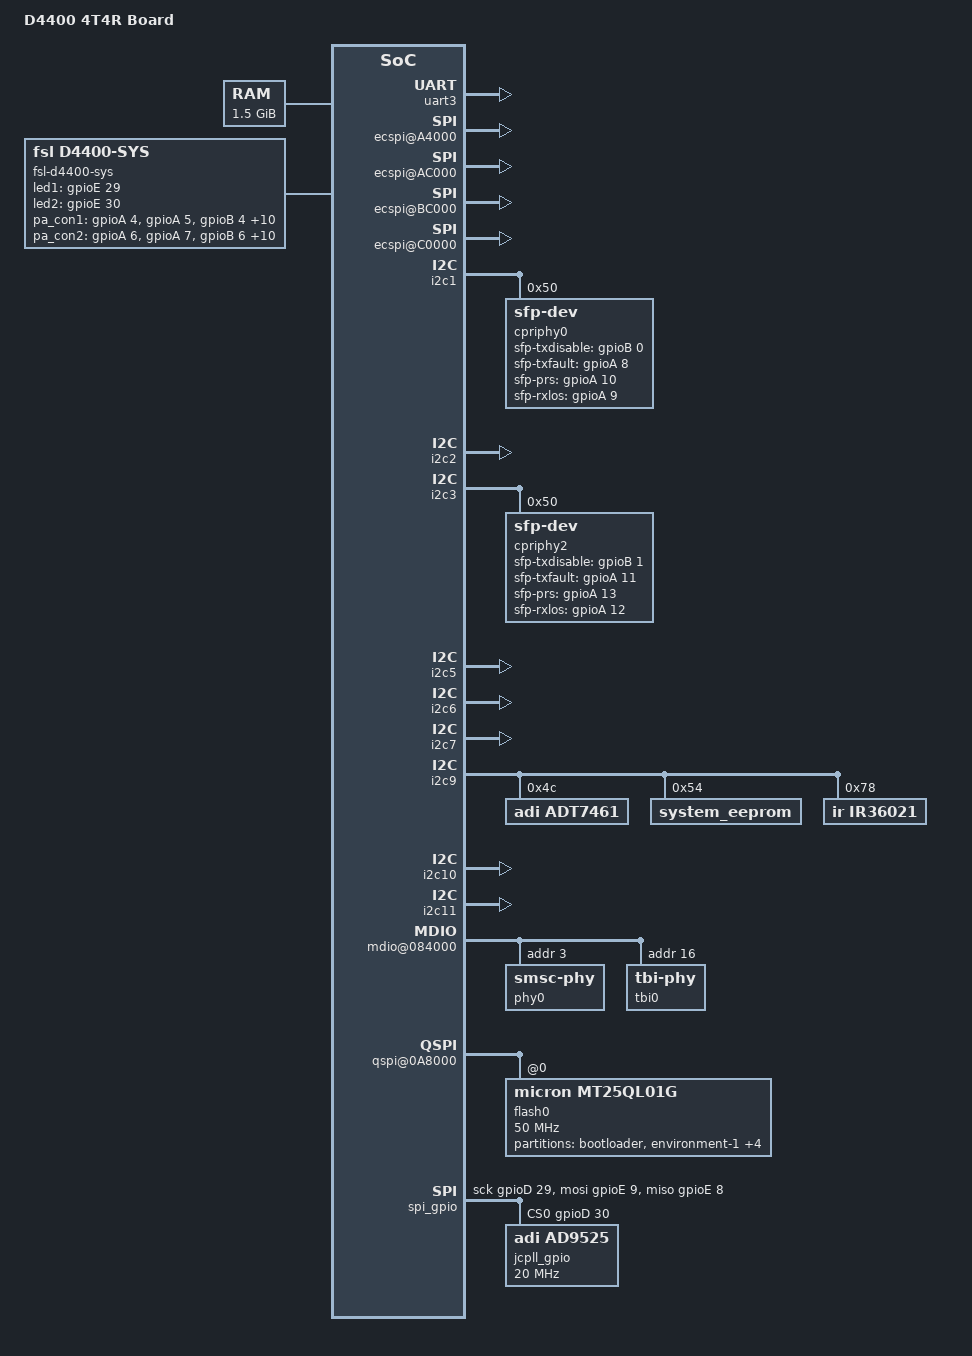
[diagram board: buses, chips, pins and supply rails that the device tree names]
/*
 * Copyright (C) 2013 Freescale Semiconductor, Inc.
 *
 * The code contained herein is licensed under the GNU General Public
 * License. You may obtain a copy of the GNU General Public License
 * Version 2 or later at the following locations:
 *
 * http://www.opensource.org/licenses/gpl-license.html
 * http://www.gnu.org/copyleft/gpl.html
 */
/dts-v1/;

/include/ "d4400.dtsi"

/ {
	model = "D4400 4T4R Board";
	compatible = "fsl,d4400";

	aliases {
		cpri0ethernet0 = &cp1_framer1;
		cpri1ethernet0 = &cp2_framer1;
	};

        memory {
                reg = <0x90000000 0x60000000>;
        };

        soc@0 {
                aips-bus@1000000 { /* AIPS1 */
                        uart3: serial@f4000 {
                                pinctrl-names = "default";
                                pinctrl-0 = <&pinctrl_uart3_1>;
                                status = "okay";
                        };
			ecspi@A4000 {
				#address-cells = <1>;
				#size-cells = <0>;
				status = "okay";
				pinctrl-names = "default";
				pinctrl-0 = <&pinctrl_ecspi1_1>;
				fsl,spi-num-chipselects = <3>;
			};

			ecspi@AC000 {
				#address-cells = <1>;
				#size-cells = <0>;
				status = "okay";
				pinctrl-names = "default";
				pinctrl-0 = <&pinctrl_ecspi3_1>;
				fsl,spi-num-chipselects = <3>;
			};

			/* spi-gpio is used in place of ecspi5 due
			 * to miso/mosi signal swap in 4t4r board.
			 */

			ecspi@BC000 {
				#address-cells = <1>;
				#size-cells = <0>;
				status = "okay";
				pinctrl-names = "default";
				pinctrl-0 = <&pinctrl_ecspi7_1>;
				fsl,spi-num-chipselects = <2>;
			};

			ecspi@C0000 {
				#address-cells = <1>;
				#size-cells = <0>;
				status = "okay";
				pinctrl-names = "default";
				pinctrl-0 = <&pinctrl_ecspi8_1>;
				fsl,spi-num-chipselects = <3>;
			};

			i2c1: i2c@C4000 {
				#address-cells = <1>;
				#size-cells = <0>;
				status = "okay";
				pinctrl-names = "default";
				pinctrl-0 = <&pinctrl_i2c1_1>;

				cpriphy0: sfp0@50 {
					id = <0>;
					compatible = "sfp-dev";
					reg = <0x50 0x51>;
					max-addr = <0x2>;
					gpio-sfp-txdisable = <&gpioB 0 0>;
					gpio-sfp-txfault = <&gpioA 8 0>;
					gpio-sfp-prs = <&gpioA 10 0>;
					gpio-sfp-rxlos = <&gpioA 9 0>;
					pinctrl-names = "default";
					pinctrl-0 = <&pinctrl_sfp1_1>;
				};

			};

			i2c2: i2c@C8000 {
				#address-cells = <1>;
				#size-cells = <0>;
				status = "okay";
				pinctrl-names = "default";
				pinctrl-0 = <&pinctrl_i2c2_1>;
			};

			i2c3: i2c@CC000 {
				#address-cells = <1>;
				#size-cells = <0>;
				status = "okay";
				pinctrl-names = "default";
				pinctrl-0 = <&pinctrl_i2c3_1>;

				cpriphy2: sfp2@50 {
					id = <2>;
					compatible = "sfp-dev";
					reg = <0x50 0x51>;
					max-addr = <0x2>;
					gpio-sfp-txdisable = <&gpioB 1 0>;
					gpio-sfp-txfault = <&gpioA 11  0>;
					gpio-sfp-prs = <&gpioA 13  0>;
					gpio-sfp-rxlos = <&gpioA 12  0>;
					pinctrl-names = "default";
					pinctrl-0 = <&pinctrl_sfp2_1>;

				};
			};

			cpri@0x100000 {

				cp1_framer1: framer1@0x0 {
					reg = <0x0 0x8000>;
					framer-id = <0>;
					max-axcs = <24>;
					memblk-size = <0x1800>;
					local-mac-address = [ 00 00 AB CD 21 AB ];
					interrupts = <0 71 0x04>,
						<0 73 0x04>,
						<0 75 0x04>,
						<0 77 0x04>;
					sfp-handle = <&cpriphy0>;
					serdes-handle = <&serdes3 2>;
				};
			};
                };
                aips-bus@1200000 { /* AIPS2 */
                        #address-cells = <1>;
                        #size-cells = <1>;

			i2c5: i2c@DC000 {
				#address-cells = <1>;
				#size-cells = <0>;
				status = "okay";
				pinctrl-names = "default";
				pinctrl-0 = <&pinctrl_i2c5_1>;
			};

			i2c6: i2c@E0000 {
				#address-cells = <1>;
				#size-cells = <0>;
				status = "okay";
				pinctrl-names = "default";
				pinctrl-0 = <&pinctrl_i2c6_1>;
			};

			i2c7: i2c@E4000 {
				#address-cells = <1>;
				#size-cells = <0>;
				status = "okay";
				pinctrl-names = "default";
				pinctrl-0 = <&pinctrl_i2c7_1>;
			};

			i2c9: i2c@EC000 {
				#address-cells = <1>;
				#size-cells = <0>;
				status = "okay";
				pinctrl-names = "default";
				pinctrl-0 = <&pinctrl_i2c9_1>;

				adt7461@4c {
					compatible = "adi,adt7461";
					reg = <0x4c>;
				};

				system_eeprom: eeprom@54 {
					reg = <0x54>;
					compatible = "system_eeprom";
					pagesize = <128>;
					bytesize = <65536>;
				};

                                ir36021@78 {
                                        compatible = "ir,ir36021";
                                        reg = <0x78>;
                                };
			};

			i2c10: i2c@F0000 {
				#address-cells = <1>;
				#size-cells = <0>;
				status = "okay";
				pinctrl-names = "default";
				pinctrl-0 = <&pinctrl_i2c10_1>;
			};

			i2c11: i2c@F4000 {
				#address-cells = <1>;
				#size-cells = <0>;
				status = "okay";
				pinctrl-names = "default";
				pinctrl-0 = <&pinctrl_i2c11_1>;
			};

			cpri@0x100000 {

				cp2_framer1: framer1@0x0 {
					reg = <0x0 0x8000>;
					framer-id = <0>;
					max-axcs = <24>;
					memblk-size = <0x1800>;
					local-mac-address = [ 00 00 AB CD 21 EF ];
					interrupts = <0 84 0x04>,
						<0 86 0x04>,
						<0 88 0x04>,
						<0 90 0x04>;
					sfp-handle = <&cpriphy2>;
					serdes-handle = <&serdes3 4>;
		                };
			};
		};

		aips-bus@4000000 { /* AIPS3 */

                        iomuxc@8c000 {

		                uart3_pins {
                                        pinctrl_uart3_1: uart3grp-1 {
                                                fsl,pins = <
                                                        341 0x80000000    /* D4400_PAD_UART3_TXD_UART_3_TXD */
                                                        345 0x80000000    /* D4400_PAD_UART3_RXD_UART_3_RXD */
                                                >;
                                        };
                                };

                                sfpctrl_pins {
                                        pinctrl_sfp1_1: sfp1grp-1 {
                                                fsl,pins = <
							/* cpri1 sfp */
                                                        633 0x80000000    /* D4400_PAD_GPIOB0_GPIOB_0 */
                                                        529 0x80000000    /* D4400_PAD_GPIOA8_GPIOA_8 */
                                                        533 0x80000000    /* D4400_PAD_GPIOA9_GPIOA_9 */
                                                        537 0x80000000    /* D4400_PAD_GPIOA10_GPIOA_10 */
                                                >;
                                        };
                                        pinctrl_sfp2_1: sfp2grp-1 {
                                                fsl,pins = <
							/* cpri2 sfp */
                                                        640 0x80000000    /* D4400_PAD_GPIOB1_GPIOB_1 */
                                                        540 0x80000000    /* D4400_PAD_GPIOA11_GPIOA_11 */
                                                        543 0x80000000    /* D4400_PAD_GPIOA12_GPIOA_12 */
                                                        546 0x80000000    /* D4400_PAD_GPIOA13_GPIOA_13 */
                                                >;
                                        };
                                };

                                leds_pins {
                                        pinctrl_leds_1: ledsgrp-1 {
                                                fsl,pins = <
                                                        351 0x80000000    /* D4400_PAD_UART4_TXD_GPIOE_29 */
                                                        357 0x80000000    /* D4400_PAD_UART4_RXD_GPIOE_30 */
                                                >;
                                        };
                                };

                                rmii_pins {
                                        pinctrl_rmii_1: rmiigrp-1 {
                                                fsl,pins = <
                                                        1141 0x80000000    /* D4400_PAD_GPIOD8_TSEC1_RXD0 */
                                                        1025 0x80000000    /* D4400_PAD_GPIOC24_TSEC1_RXD_1 */
							1048 0x80000000    /* D4400_PAD_GPIOC27_TSEC1_RX_ERR */
							1064 0x80000000    /* D4400_PAD_GPIOC29_TSEC1_TX_CLK */
							1072 0x80000000    /* D4400_PAD_GPIOC30_TSEC1_TXD0 */
							1080 0x80000000    /* D4400_PAD_GPIOC31_TSEC1_TXD1 */
							1106 0x80000000    /* D4400_PAD_GPIOD3_TSEC1_TXEN */
							1134 0x80000000    /* D4400_PAD_GPIOD7_TSEC1_RX_DV */
							1147 0x80000000    /* D4400_PAD_TSEC_MDC_ETSEC_MDC */
							1150 0x80000000    /* D4400_PAD_TSEC_MDIO_ETSEC_MDIO */
                                                >;
                                        };
                                };

				pa_control {
					pinctrl_pa_con1: pacongrp-1 {
                                                fsl,pins = <
							/* Alarm */
							506 0x80000000     /* D4400_PAD_GPIOA4_GPIOA_4 */
							512 0x80000000     /* D4400_PAD_GPIOA5_GPIOA_5 */

							/* PSU EN */
							661 0x80000000     /* D4400_PAD_GPIOB4_GPIOB_4 */
							667 0x80000000     /* D4400_PAD_GPIOB5_GPIOB_5 */

							/* OBS_SEL */
							783 0x80000000     /* D4400_PAD_GPIOB24_GPIOB_24 */
							790 0x80000000     /* D4400_PAD_GPIOB25_GPIOB_25 */
							797 0x80000000     /* D4400_PAD_GPIOB26_GPIOB_26 */
							804 0x80000000     /* D4400_PAD_GPIOB27_GPIOB_27 */

							/* TX_EN, TRX_SW */
							847 0x80000000     /* D4400_PAD_GPIOC1_GPIOC_1 */
							863 0x80000000     /* D4400_PAD_GPIOC3_GPIOC_3 */
							910 0x80000000     /* D4400_PAD_GPIOC9_GPIOC_9 */
							926 0x80000000     /* D4400_PAD_GPIOC11_GPIOC_11 */

							/* Spare1 */
							206 0x80000000     /* D4400_PAD_SPI2_CLK_GPIOD_24 */
							/* Spare2 */
							209 0x80000000     /* D4400_PAD_SPI2_SS0_GPIOD_25 */

							/* SS2 */
							/* Conflicts with spi7 ss2 */
							//495 0x80000000     /* D4400_PAD_GPIOA2_GPIOA_2 */

							/* LNA_CTL */
							/* LNA signals are currently unused and conflicts
							 * with ADI ROC1 cs-gpios gpioC16/18/19.
							 */
							//966 0x80000000     /* D4400_PAD_GPIOC16_GPIOC_16 */
							//974 0x80000000     /* D4400_PAD_GPIOC17_GPIOC_17 */
							//982 0x80000000     /* D4400_PAD_GPIOC18_GPIOC_18 */
							//989 0x80000000     /* D4400_PAD_GPIOC19_GPIOC_19 */
                                                >;
					};

					pinctrl_pa_con2: pacongrp-2 {
                                                fsl,pins = <
							/* Alarm */
							518 0x80000000     /* D4400_PAD_GPIOA6_GPIOA_6 */
							524 0x80000000     /* D4400_PAD_GPIOA7_GPIOA_7 */

							/* PSU EN */
							673 0x80000000     /* D4400_PAD_GPIOB6_GPIOB_6 */
							679 0x80000000     /* D4400_PAD_GPIOB7_GPIOB_7 */

							/* OBS SEL */
							811 0x80000000     /* D4400_PAD_GPIOB28_GPIOB_28 */
							818 0x80000000     /* D4400_PAD_GPIOB29_GPIOB_29 */
							825 0x80000000     /* D4400_PAD_GPIOB30_GPIOB_30 */
							832 0x80000000     /* D4400_PAD_GPIOB31_GPIOB_31 */

							/* TX_EN, TRX_SW */
							878 0x80000000     /* D4400_PAD_GPIOC5_GPIOC_5 */
							894 0x80000000     /* D4400_PAD_GPIOC7_GPIOC_7 */
							942 0x80000000     /* D4400_PAD_GPIOC13_GPIOC_13 */
							958 0x80000000     /* D4400_PAD_GPIOC15_GPIOC_15 */

							/* Spare1 SPI4 */
							238 0x80000000     /* D4400_PAD_SPI4_CLK_GPIOD_28 */

							/* Spare2 SPI4 */
							/* Conflicts with spi5-clk because spi5 is spi-gpio
							 * which sets spi5-clk mux to gpioD29.  So gpioD29
							 * cannot be used here as gpio spare.
							 */
							//241 0x80000000     /* D4400_PAD_SPI4_SS0_GPIOD_29 */

							/* SS2 */
							/* Conflicts with spi8 ss2 */
							//501 0x80000000     /* D4400_PAD_GPIOA3_GPIOA_3 */

							/* LNA_CTL */
							/* LNA signals are currently unused and conflicts
							 * with ADI ROC2 cs-gpios gpioC20/22/23.
							 */
							//996 0x80000000     /* D4400_PAD_GPIOC20_GPIOC_20 */
							//1003 0x80000000    /* D4400_PAD_GPIOC21_GPIOC_21 */
							//1010 0x80000000    /* D4400_PAD_GPIOC22_GPIOC_22 */
							//1017 0x80000000    /* D4400_PAD_GPIOC23_GPIOC_23 */
                                                >;
					};
				};

                                ad9525_gpiospi_pins {
                                        pinctrl_ad9525_gpiospi_1: ad9525gpiospigrp-1 {
                                                fsl,pins = <
                                                        247 0x80000000    /* D4400_PAD_SPI5_MOSI_GPIOE_8 */
                                                        251 0x80000000    /* D4400_PAD_SPI5_MISO_GPIOE_9 */
                                                        254 0x80000000    /* D4400_PAD_SPI5_CLK_GPIOD_29 */
                                                        257 0x80000000    /* D4400_PAD_SPI5_SS0_GPIOD_30 */
                                                >;
                                        };
                                };
			};

			mdio@084000 {
				phy0: smsc-phy@0 {
					reg = <3>;
					device_type = "ethernet-phy";
				};

				tbi0: tbi-phy@10 {
					device_type = "tbi-phy";
					reg = <0x10>;
				};
			};

			qspi@0A8000 {
				flash0: mt25ql01g@0 {
					#address-cells = <1>;
					#size-cells = <1>;
					compatible = "micron,mt25ql01g";
					spi-max-frequency = <50000000>;
					io-mode = <4>; /* 1-single, 4-quad IO */

					/* 128MB flash */
					partition@0 {
						/* U-Boot Image-512KB */
						reg = <0x0 0x00080000>;
						label = "bootloader";
						read-only;
					};
					partition@00080000 {
						/* Env variables, 64KB, area 1*/
						reg = <0x000080000 0x00010000>;
						label = "environment-1";
					};
					partition@00090000 {
						/* Env variables, 64KB, area 2*/
						reg = <0x000090000 0x00010000>;
						label = "environment-2";
					};
					partition@000A0000 {
						/* U-Boot Redundant Image-512KB */
						reg = <0x000A0000 0x00080000>;
						label = "redundant-bootloader";
						read-only;
					};
					partition@00120000 {
						/* 64MB for Linux image */
						reg = <0x00120000 0x04000000>;
						label = "kernel";
					};
					partition@04120000 {
						/* 62.875 MB for JFFS2 based Root file System */
						reg = <0x04120000 0x03EE0000>;
						label = "filesystem";
					};
				};
			};
		};

		fsl-d4400-sys {
			compatible = "fsl,d4400-sys";
			eeprom-handle =<&system_eeprom>;
			gpio-led1 = <&gpioE 29  0>;
			gpio-led2 = <&gpioE 30  0>;
			pa_con1 = <&gpioA 4 0>, /* PA_ALARM1_B */
				<&gpioA 5 0>,	/* PA_ALARM2_B */
				<&gpioB 4 0>,	/* PA_PSU_EN1 */
				<&gpioB 5 0>,	/* PA_PSU_EN2 */
				<&gpioB 24 0>,	/* PA_OBS_SEL1A */
				<&gpioB 25 0>,	/* PA_OBS_SEL1B */
				<&gpioB 26 0>,	/* PA_OBS_SEL2A */
				<&gpioB 27 0>,	/* PA_OBS_SEL2B */
				<&gpioC 1 0>,	/* PA_TX_EN1 */
				<&gpioC 3 0>,	/* PA_TX_EN2 */
				<&gpioC 9 0>,	/* PA_TRX_SW1 */
				<&gpioC 11 0>,	/* PA_TRX_SW2 */
				<&gpioD 24 0>;	/* PA_SPARE1 */
				//<&gpioD 25 0>;	/* PA_SPARE2 */
				//<&gpioA 2 0>,		/* PA_SS2 */
				//<&gpioC 16 0>,	/* PA_LNA_CTL_1A */
				//<&gpioC 17 0>,	/* PA_LNA_CTL_1B */
				//<&gpioC 18 0>,	/* PA_LNA_CTL_2A */
				//<&gpioC 19 0>;	/* PA_LNA_CTL_2B */

			pa_con2 = <&gpioA 6 0>, /* PA_ALARM1_B */
				<&gpioA 7 0>,	/* PA_ALARM2_B */
				<&gpioB 6 0>,	/* PA_PSU_EN1*/
				<&gpioB 7 0>,	/* PA_PSU_EN2 */
				<&gpioB 28 0>,	/* PA_OBS_SEL1A */
				<&gpioB 29 0>,	/* PA_OBS_SEL1B */
				<&gpioB 30 0>,	/* PA_OBS_SEL2A */
				<&gpioB 31 0>,	/* PA_OBS_SEL2B */
				<&gpioC 5 0>,	/* PA_TX_EN1 */
				<&gpioC 7 0>,	/* PA_TX_EN2 */
				<&gpioC 13 0>,	/* PA_TRX_SW1 */
				<&gpioC 15 0>,	/* PA_TRX_SW2 */
				<&gpioD 28 0>;	/* PA_SPARE1 */
				//<&gpioD 29 0>;	/* PA_SPARE2 */
				//<&gpioA 3 0>,		/* PA_SS2 */
				//<&gpioC 20 0>,	/* PA_LNA_CTL_1A */
				//<&gpioC 21 0>,	/* PA_LNA_CTL_1B */
				//<&gpioC 22 0>,	/* PA_LNA_CTL_2A */
				//<&gpioC 23 0>;	/* PA_LNA_CTL_2B */

			pinctrl-names = "default";
                        pinctrl-0 = <&pinctrl_leds_1>, <&pinctrl_rmii_1>,
                                <&pinctrl_ad9525_gpiospi_1>,
				<&pinctrl_pa_con1>,
				<&pinctrl_pa_con2>;
		};

                spi_gpio {
                        compatible = "spi-gpio";
                        #address-cells = <1>;
                        #size-cells = <0>;
                        gpio-sck = <&gpioD 29 0>;
                        gpio-miso = <&gpioE 8 0>;
                        gpio-mosi = <&gpioE 9 0>;
                        cs-gpios = <&gpioD 30 0>;
                        num-chipselects = <1>;

                        /* spidev driver */
                        jcpll_gpio: ad9525_gpio@0 {
                                compatible = "adi,ad9525";
                                spi-max-frequency = <20000000>;
                                reg = <0x0>;	/* Ending chip select:
						 * 0-one cs, 1-two cs, etc.
						 */
                                /* spi-cpha; */
                                /* spi-cpol; */
                                /* spi-cs-high; */
                        };
                };

                xcvr_if: xcvr_if@1 {
			compatible = "fsl,xcvr-interface";

			xcvr-roc1 {
				#address-cells = <1>;
				#size-cells = <1>;
				platform-drv-name = "roc_misc_driver";
				/* FMC connector: 0-none, 1-fmc1, 2-fmc2, 3-fmc1 & fmc2 */
				connector-fmc = <1>;
				interrupt-parent = <&gpioA>;
				interrupts = <16 0x04>,
					<17 0x04>;
				id = <1>;
				cs-gpios = <&gpioC 16 0>,
					<&gpioC 18 0>,
					<&gpioC 19 0>;
				tx-reset = <5>;
				rx-reset = <3>;

				eeprom-handle =<&system_eeprom>;
				ipmi-mfg-str = "Freescale", "NXP";
				ipmi-name-str =
					"FSL D4400 4T4R Reference Board",
					"NXP D4400-4T4R21 System",
					"NXP D4400-21RRH2W5 System";
			};

			xcvr-roc2 {
				#address-cells = <1>;
				#size-cells = <1>;
				platform-drv-name = "roc_misc_driver";
				/* FMC connector: 0-none, 1-fmc1, 2-fmc2, 3-fmc1 & fmc2 */
				connector-fmc = <2>;
				interrupt-parent = <&gpioA>;
				interrupts = <18 0x04>,
					<19 0x04>;
				id = <2>;
				cs-gpios = <&gpioC 20 0>,
					<&gpioC 22 0>,
					<&gpioC 23 0>;
				tx-reset = <6>;
				rx-reset = <4>;

				eeprom-handle =<&system_eeprom>;
				ipmi-mfg-str = "Freescale", "NXP";
				ipmi-name-str =
					"FSL D4400 4T4R Reference Board",
					"NXP D4400-4T4R21 System",
					"NXP D4400-21RRH2W5 System";
			};
                };
        };

	landshark@0xc000000 { /* LandShark */
		compatible = "fsl,landshark";
		address = <0xc0000000>;
		length = <0x10000000>;
		status = "okay";
	};
};
